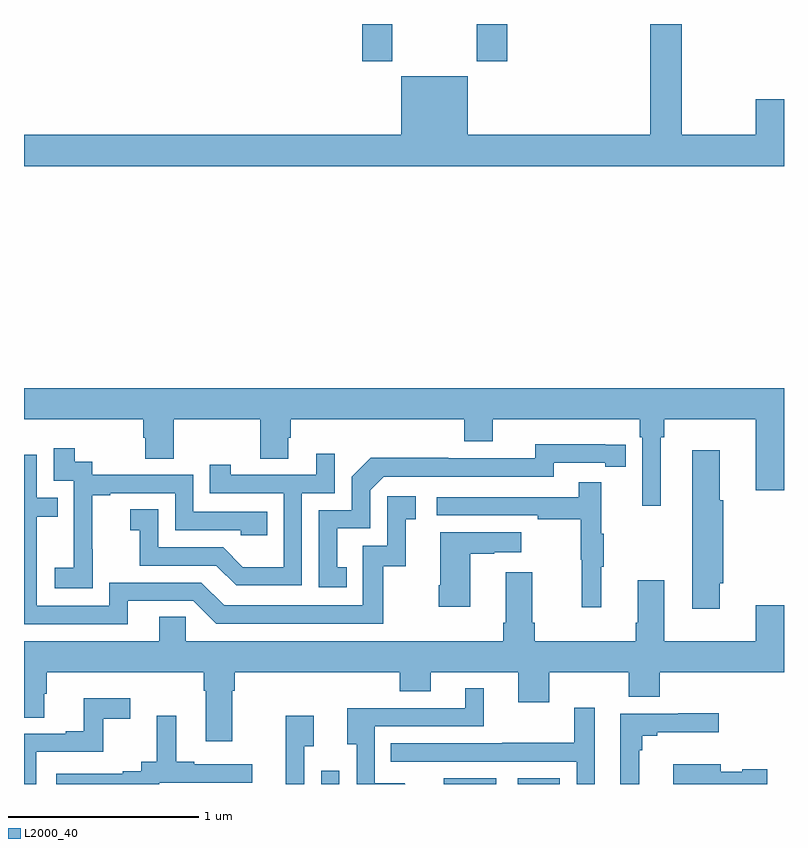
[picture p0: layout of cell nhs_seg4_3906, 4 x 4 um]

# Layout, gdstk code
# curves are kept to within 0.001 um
import gdstk
lib = gdstk.Library(unit=1e-6, precision=1e-09)
def R(c, l, rs):  # rectangles x0, y0, x1, y1
    for r in rs: c.add(gdstk.rectangle(r[:2], r[2:], *l))
def P(c, l, *ps):  # polygons
    for p in ps: c.add(gdstk.Polygon(p, *l))
L2000_40 = (2000, 40)

nhs_seg4_3906 = lib.new_cell('nhs_seg4_3906')
R(nhs_seg4_3906, L2000_40, [(318.564,794.9,318.66,794.971), (319.208,794.9,319.486,794.929), (319.598,794.9,319.819,794.929), (318.779,798.705,318.939,798.9), (319.384,798.705,319.544,798.9)])
P(nhs_seg4_3906, L2000_40, [(321,798.505),(320.852,798.505),(320.852,798.316),(320.461,798.316),(320.461,798.9),(320.297,798.9),(320.297,798.316),(319.336,798.316),(319.336,798.625),(318.986,798.625),(318.986,798.316),(317,798.316),(317,798.152),(321,798.152)],
  [(320.35,796.724),(320.369,796.724),(320.369,796.82),(320.852,796.82),(320.852,796.446),(321,796.446),(321,796.984),(317,796.984),(317,796.82),(317.627,796.82),(317.627,796.722),(317.639,796.722),(317.639,796.612),(317.787,796.612),(317.787,796.82),(318.244,796.82),(318.244,796.612),(318.391,796.612),(318.391,796.722),(318.404,796.722),(318.404,796.82),(319.316,796.82),(319.316,796.703),(319.468,796.703),(319.468,796.82),(320.24,796.82),(320.24,796.724),(320.253,796.724),(320.253,796.365),(320.35,796.365)],
  [(318.698,796.041),(318.649,796.041),(318.649,796.245),(318.822,796.245),(318.822,796.446),(318.894,796.518),(319.788,796.518),(319.788,796.59),(320.06,796.59),(320.06,796.57),(320.168,796.57),(320.168,796.686),(319.692,796.687),(319.692,796.614),(319.232,796.614),(319.232,796.616),(318.824,796.616),(318.726,796.518),(318.726,796.341),(318.552,796.341),(318.552,795.936),(318.698,795.936)],
  [(317.361,796.135),(317.36,796.135),(317.36,796.419),(317.455,796.419),(317.455,796.431),(317.796,796.431),(317.796,796.236),(318.141,796.236),(318.141,796.209),(318.281,796.209),(318.281,796.332),(317.892,796.332),(317.892,796.527),(317.358,796.527),(317.358,796.596),(317.266,796.596),(317.266,796.666),(317.157,796.666),(317.157,796.497),(317.262,796.497),(317.262,796.268),(317.261,796.268),(317.261,796.039),(317.163,796.039),(317.163,795.929),(317.361,795.929)],
  [(320.662,795.957),(320.68,795.957),(320.68,796.393),(320.662,796.393),(320.662,796.657),(320.516,796.657),(320.516,795.822),(320.662,795.822)],
  [(318.462,796.431),(318.636,796.431),(318.636,796.639),(318.539,796.639),(318.539,796.527),(318.088,796.527),(318.088,796.579),(317.977,796.579),(317.977,796.431),(318.366,796.431),(318.366,796.042),(318.152,796.042),(318.048,796.146),(317.706,796.146),(317.706,796.345),(317.559,796.345),(317.559,796.235),(317.608,796.235),(317.608,796.05),(318.011,796.05),(318.116,795.945),(318.462,795.945)],
  [(317.545,795.864),(317.892,795.864),(318.012,795.744),(318.892,795.744),(318.892,796.047),(319.01,796.047),(319.01,796.293),(319.063,796.293),(319.063,796.414),(318.912,796.414),(318.912,796.155),(318.783,796.155),(318.783,795.84),(318.054,795.84),(317.934,795.96),(317.448,795.96),(317.448,795.837),(317.067,795.837),(317.067,796.306),(317.177,796.306),(317.177,796.407),(317.067,796.407),(317.067,796.632),(317,796.632),(317,795.741),(317.545,795.741)],
  [(320.039,796.043),(320.05,796.043),(320.05,796.217),(320.039,796.217),(320.039,796.489),(319.921,796.489),(319.921,796.41),(319.173,796.41),(319.173,796.314),(319.705,796.314),(319.705,796.294),(319.929,796.294),(319.929,796.08),(319.936,796.08),(319.936,795.831),(320.039,795.831)],
  [(319.348,796.111),(319.475,796.111),(319.475,796.121),(319.618,796.121),(319.618,796.225),(319.19,796.225),(319.19,795.946),(319.183,795.946),(319.183,795.834),(319.348,795.834)],
  [(317.85,795.779),(317.711,795.779),(317.711,795.652),(317,795.652),(317,795.25),(317.107,795.25),(317.107,795.375),(317.12,795.375),(317.12,795.488),(317.945,795.488),(317.945,795.392),(317.957,795.392),(317.957,795.126),(318.097,795.126),(318.097,795.392),(318.11,795.392),(318.11,795.488),(318.977,795.488),(318.977,795.389),(319.141,795.389),(319.141,795.488),(319.601,795.488),(319.601,795.33),(319.765,795.33),(319.765,795.488),(320.183,795.488),(320.183,795.36),(320.347,795.36),(320.347,795.488),(321,795.488),(321,795.841),(320.852,795.841),(320.852,795.652),(320.371,795.652),(320.371,795.973),(320.231,795.973),(320.231,795.748),(320.219,795.748),(320.219,795.652),(319.688,795.652),(319.688,795.748),(319.675,795.748),(319.675,796.015),(319.535,796.015),(319.535,795.748),(319.523,795.748),(319.523,795.652),(317.85,795.652)],
  [(319.003,794.904),(318.846,794.904),(318.846,795.204),(319.421,795.204),(319.421,795.403),(319.322,795.403),(319.322,795.3),(318.701,795.3),(318.701,795.11),(318.75,795.11),(318.75,794.9),(319.007,794.9)],
  [(317.064,795.069),(317.417,795.069),(317.417,795.243),(317.56,795.243),(317.56,795.352),(317.315,795.352),(317.315,795.178),(317.219,795.178),(317.219,795.165),(317,795.165),(317,794.9),(317.064,794.9)],
  [(320.005,795.301),(319.896,795.301),(319.896,795.116),(319.516,795.116),(319.516,795.114),(318.931,795.114),(318.931,795.018),(319.908,795.018),(319.908,794.9),(320.005,794.9)],
  [(320.237,795.077),(320.255,795.077),(320.255,795.154),(320.332,795.154),(320.332,795.173),(320.656,795.173),(320.656,795.272),(320.443,795.272),(320.443,795.27),(320.138,795.27),(320.138,794.9),(320.237,794.9)],
  [(317.712,794.907),(318.202,794.907),(318.202,795.003),(317.896,795.003),(317.896,795.016),(317.8,795.016),(317.8,795.259),(317.698,795.259),(317.698,795.016),(317.616,795.016),(317.616,794.968),(317.519,794.968),(317.519,794.955),(317.169,794.955),(317.169,794.9),(317.712,794.9)],
  [(318.474,795.098),(318.526,795.098),(318.526,795.259),(318.377,795.259),(318.377,794.9),(318.474,794.9)],
  [(320.911,794.978),(320.781,794.978),(320.781,794.965),(320.668,794.965),(320.668,795.004),(320.417,795.004),(320.417,794.9),(320.911,794.9)])

lib.write_gds('nhs_seg4_3906.gds')
